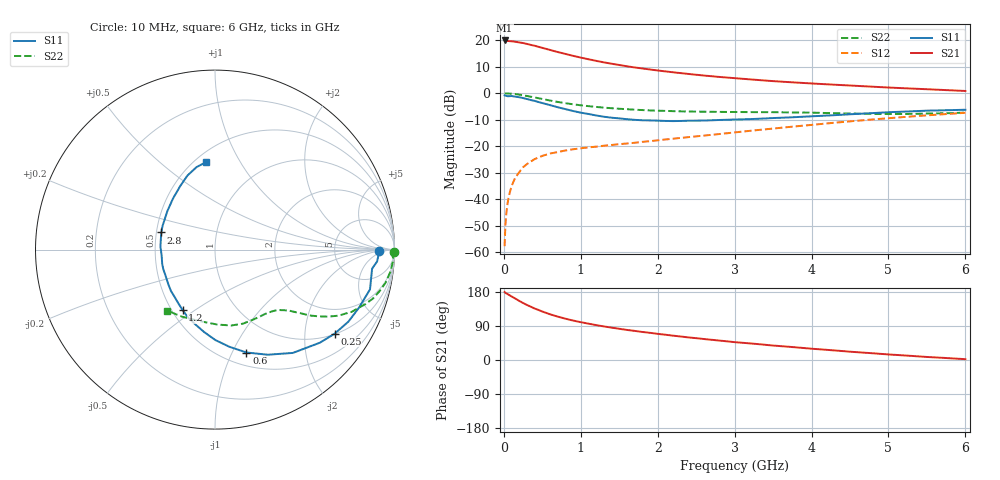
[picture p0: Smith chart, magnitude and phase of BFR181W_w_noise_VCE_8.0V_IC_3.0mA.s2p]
! (c) 2017  Infineon Technologies AG, Munich
! Infineon Technologies  Discrete & RF Semiconductors
! BFR181W
! VCE =  8.0 V,  IC =  3.0 mA
! Common Emitter S-Parameters:  Jan 2017
# GHz  S  MA  R  50
!  f  S11  S21  S12  S22
! GHz  MAG  ANG  MAG  ANG  MAG  ANG  MAG  ANG
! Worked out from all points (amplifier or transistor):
!   77 points, 10 MHz to 6 GHz, reference 50 ohm
!   highest |S21| = 20.0 dB at 10 MHz (marker M1)
!   |S21| within 3 dB of that: start of sweep to 526.5 MHz
!   unconditionally stable (mu >= 1): 1.67 GHz to 3.656 GHz
!   at 130 MHz: K = 0.11, MSG = 26.3 dB, |S12| = -33.0 dB
!   at 2.2 GHz: K = 1.07, MAG = 10.9 dB, |S12| = -17.1 dB
!   at 6 GHz: K = 0.83, MSG = 4.1 dB, |S12| = -7.4 dB
!   lowest NFmin = 0.87 dB at 450 MHz
!   S11 on the Smith chart (normalised r, x): 10 MHz: 23, -2; 250 MHz: 1.02, -2.83; 600 MHz: 0.63, -1.14; 1.2 GHz: 0.57, -0.45; 2.8 GHz: 0.53, +0.11; 6 GHz: 0.57, +0.73
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0.01  0.9161 -0.5  9.968 179.4  0.0013 78.3  1 -0.8
0.02  0.9054 -4.2  9.91 177.2  0.0032 101.6  0.9907 -1.3
0.03  0.8973 -5.1  9.854 176.1  0.0049 91.8  0.9916 -2.1
0.07  0.8838 -9.9  9.686 171.4  0.0121 82.7  0.9895 -5.2
0.15  0.8653 -21.9  9.433 162.0  0.0256 78.0  0.9681 -11.0
0.25  0.8147 -35.1  8.917 150.4  0.0402 70.9  0.9214 -17.2
0.3  0.7813 -41.6  8.571 145.2  0.0461 67.0  0.8915 -19.9
0.4  0.7208 -53.0  7.926 135.9  0.0572 62.4  0.8365 -24.5
0.5  0.6556 -63.3  7.226 127.9  0.0659 58.4  0.7814 -28.1
0.6  0.5995 -73.0  6.607 120.7  0.073 55.4  0.7314 -30.7
0.7  0.5467 -81.7  6.029 114.5  0.0778 53.5  0.6886 -32.7
0.8  0.5038 -89.8  5.55 109.0  0.0834 52.3  0.6516 -34.4
0.9  0.4638 -97.4  5.108 104.1  0.0878 50.6  0.6213 -35.6
1.1  0.4077 -111.6  4.403 95.9  0.0953 50.3  0.5734 -37.6
1.2  0.382 -118.2  4.107 92.1  0.0984 50.1  0.5537 -38.5
1.6  0.3251 -142.7  3.241 79.4  0.113 51.7  0.5022 -42.2
2.1  0.3011 -169.1  2.597 66.7  0.1344 54.5  0.4657 -48.1
2.8  0.3141 162.3  2.042 51.3  0.1702 57.0  0.4465 -58.5
3.1  0.323 152.6  1.885 45.5  0.1893 57.1  0.443 -63.1
4.1  0.3742 127.2  1.509 28.3  0.2619 55.2  0.4284 -79.9
5.1  0.4457 108.8  1.268 13.4  0.3478 48.9  0.4073 -104.3
6  0.4902 95.8  1.109 2.2  0.429 40.7  0.4324 -128.1
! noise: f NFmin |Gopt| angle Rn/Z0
0.45  0.87  0.47  17  0.27
0.9  0.93  0.42  32  0.26
1.9  1.34  0.24  80  0.21
2.4  1.55  0.21  94  0.23
